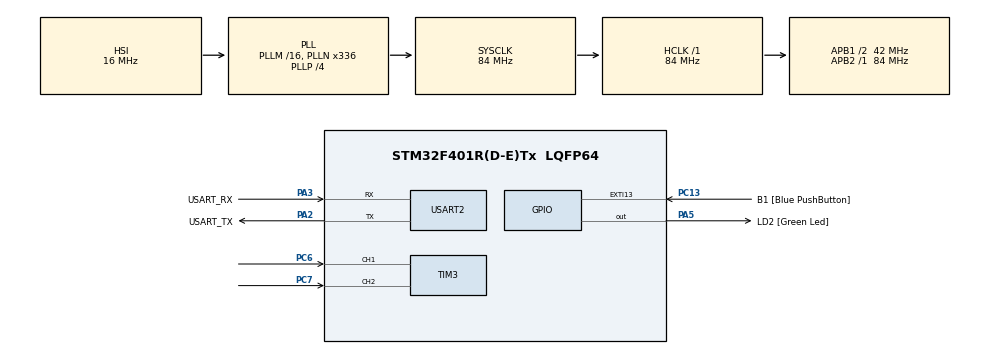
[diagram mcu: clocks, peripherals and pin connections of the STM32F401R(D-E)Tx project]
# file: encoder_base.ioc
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Mcu.Family=STM32F4
Mcu.Name=STM32F401R(D-E)Tx
Mcu.Package=LQFP64
NVIC.PriorityGroup=NVIC_PRIORITYGROUP_0
PA13.GPIO_Label=TMS
PA13.Mode=Serial_Wire
PA13.Signal=SYS_JTMS-SWDIO
PA14.GPIO_Label=TCK
PA14.Mode=Serial_Wire
PA14.Signal=SYS_JTCK-SWCLK
PA2.GPIO_Label=USART_TX
PA2.GPIO_Mode=GPIO_MODE_AF_PP
PA2.GPIO_PuPd=GPIO_NOPULL
PA2.GPIO_Speed=GPIO_SPEED_FREQ_LOW
PA2.Mode=Asynchronous
PA2.Signal=USART2_TX
PA3.GPIO_Label=USART_RX
PA3.GPIO_Mode=GPIO_MODE_AF_PP
PA3.GPIO_PuPd=GPIO_NOPULL
PA3.GPIO_Speed=GPIO_SPEED_FREQ_LOW
PA3.Mode=Asynchronous
PA3.Signal=USART2_RX
PA5.GPIO_Label=LD2 [Green Led]
PA5.GPIO_Mode=GPIO_MODE_OUTPUT_PP
PA5.GPIO_PuPd=GPIO_NOPULL
PA5.GPIO_Speed=GPIO_SPEED_FREQ_LOW
PA5.Signal=GPIO_Output
PB3.GPIO_Label=SWO
PB3.Signal=SYS_JTDO-SWO
PC13-ANTI_TAMP.GPIO_Label=B1 [Blue PushButton]
PC13-ANTI_TAMP.GPIO_ModeDefaultEXTI=GPIO_MODE_IT_FALLING
PC13-ANTI_TAMP.GPIO_PuPd=GPIO_NOPULL
PC13-ANTI_TAMP.Signal=GPXTI13
PC14-OSC32_IN.Mode=LSE-External-Oscillator
PC14-OSC32_IN.Signal=RCC_OSC32_IN
PC15-OSC32_OUT.Mode=LSE-External-Oscillator
PC15-OSC32_OUT.Signal=RCC_OSC32_OUT
PC6.Signal=S_TIM3_CH1
PC7.Signal=S_TIM3_CH2
PH0\ -\ OSC_IN.Mode=HSE-External-Clock-Source
PH0\ -\ OSC_IN.Signal=RCC_OSC_IN
PH1\ -\ OSC_OUT.Mode=HSE-External-Clock-Source
PH1\ -\ OSC_OUT.Signal=RCC_OSC_OUT
ProjectManager.HeapSize=0x200
ProjectManager.StackSize=0x400
ProjectManager.TargetToolchain=STM32CubeIDE
RCC.48MHZClocksFreq_Value=48000000
RCC.AHBFreq_Value=84000000
RCC.APB1CLKDivider=RCC_HCLK_DIV2
RCC.APB1Freq_Value=42000000
RCC.APB1TimFreq_Value=84000000
RCC.APB2Freq_Value=84000000
RCC.APB2TimFreq_Value=84000000
RCC.CortexFreq_Value=84000000
RCC.HCLKFreq_Value=84000000
RCC.HSE_VALUE=8000000
RCC.HSI_VALUE=16000000
RCC.PLLN=336
RCC.PLLP=RCC_PLLP_DIV4
RCC.PLLQ=7
RCC.SYSCLKFreq_VALUE=84000000
RCC.SYSCLKSource=RCC_SYSCLKSOURCE_PLLCLK
RCC.VCOOutputFreq_Value=336000000
SH.S_TIM3_CH1.0=TIM3_CH1,Encoder_Interface
SH.S_TIM3_CH2.0=TIM3_CH2,Encoder_Interface
TIM3.ClockDivision=TIM_CLOCKDIVISION_DIV4
TIM3.IC1Filter=15
TIM3.IC1Polarity=TIM_ICPOLARITY_FALLING
TIM3.IC2Filter=15
USART2.VirtualMode=VM_ASYNC
board=NUCLEO-F401RE

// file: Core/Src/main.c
/* USER CODE BEGIN Header */
/**
  ******************************************************************************
  * @file           : main.c
  * @brief          : Main program body
  ******************************************************************************
  * @attention
  *
  * <h2><center>&copy; Copyright (c) 2021 STMicroelectronics.
  * All rights reserved.</center></h2>
  *
  * This software component is licensed by ST under BSD 3-Clause license,
  * the "License"; You may not use this file except in compliance with the
  * License. You may obtain a copy of the License at:
  *                        opensource.org/licenses/BSD-3-Clause
  *
  ******************************************************************************
  */
/* USER CODE END Header */
#include "main.h"

TIM_HandleTypeDef htim3;

UART_HandleTypeDef huart2;

void SystemClock_Config(void);
static void MX_GPIO_Init(void);
static void MX_USART2_UART_Init(void);
static void MX_TIM3_Init(void);

int main(void)
{

  /* MCU Configuration--------------------------------------------------------*/

  /* Reset of all peripherals, Initializes the Flash interface and the Systick. */
  HAL_Init();

  /* Configure the system clock */
  SystemClock_Config();

  /* Initialize all configured peripherals */
  MX_GPIO_Init();
  MX_USART2_UART_Init();
  MX_TIM3_Init();
  /* USER CODE BEGIN 2 */

  /*
   * Changing from uint16_t to int16_t solved the issue with the timer overflow
   */
  int16_t countA = 0;
  int16_t countB = 0;
  int16_t delta = 0;
  int16_t rpm = 0;
  uint8_t buffer[100];
  uint16_t buflen = 0;

  HAL_TIM_Encoder_Start(&htim3, TIM_CHANNEL_ALL);
  /* USER CODE END 2 */

  /* Infinite loop */
  /* USER CODE BEGIN WHILE */
  while (1)
  {
	  countA = __HAL_TIM_GET_COUNTER(&htim3); 	//alternative: countA = TIM3->CNT;
	  HAL_Delay(1000);
	  countB = __HAL_TIM_GET_COUNTER(&htim3);
	  delta = countB - countA;
	  rpm = (delta / 24.0) * 60; 				//24 is the value obtained with a 360 degree rotation of the encoder

	  if (delta < 0) {
		  rpm = -rpm;
		  buflen = snprintf(buffer, sizeof(buffer), "Delta: %d\r\nSpeed (counter-clockwise): %d rpms\r\n\r\n", delta, rpm);
	  }
	  else{
		  buflen = snprintf(buffer, sizeof(buffer), "Delta: %d\r\nSpeed (clockwise): %d rpms\r\n\r\n", delta, rpm);
	  }

	  HAL_UART_Transmit(&huart2, buffer, buflen, 100);
    /* USER CODE END WHILE */

  }
}

void SystemClock_Config(void)
{
  RCC_OscInitTypeDef RCC_OscInitStruct = {0};
  RCC_ClkInitTypeDef RCC_ClkInitStruct = {0};

  /** Configure the main internal regulator output voltage
  */
  __HAL_RCC_PWR_CLK_ENABLE();
  __HAL_PWR_VOLTAGESCALING_CONFIG(PWR_REGULATOR_VOLTAGE_SCALE2);
  /** Initializes the RCC Oscillators according to the specified parameters
  * in the RCC_OscInitTypeDef structure.
  */
  RCC_OscInitStruct.OscillatorType = RCC_OSCILLATORTYPE_HSI;
  RCC_OscInitStruct.HSIState = RCC_HSI_ON;
  RCC_OscInitStruct.HSICalibrationValue = RCC_HSICALIBRATION_DEFAULT;
  RCC_OscInitStruct.PLL.PLLState = RCC_PLL_ON;
  RCC_OscInitStruct.PLL.PLLSource = RCC_PLLSOURCE_HSI;
  RCC_OscInitStruct.PLL.PLLM = 16;
  RCC_OscInitStruct.PLL.PLLN = 336;
  RCC_OscInitStruct.PLL.PLLP = RCC_PLLP_DIV4;
  RCC_OscInitStruct.PLL.PLLQ = 7;
  if (HAL_RCC_OscConfig(&RCC_OscInitStruct) != HAL_OK)
  {
    Error_Handler();
  }
  /** Initializes the CPU, AHB and APB buses clocks
  */
  RCC_ClkInitStruct.ClockType = RCC_CLOCKTYPE_HCLK|RCC_CLOCKTYPE_SYSCLK
                              |RCC_CLOCKTYPE_PCLK1|RCC_CLOCKTYPE_PCLK2;
  RCC_ClkInitStruct.SYSCLKSource = RCC_SYSCLKSOURCE_PLLCLK;
  RCC_ClkInitStruct.AHBCLKDivider = RCC_SYSCLK_DIV1;
  RCC_ClkInitStruct.APB1CLKDivider = RCC_HCLK_DIV2;
  RCC_ClkInitStruct.APB2CLKDivider = RCC_HCLK_DIV1;

  if (HAL_RCC_ClockConfig(&RCC_ClkInitStruct, FLASH_LATENCY_2) != HAL_OK)
  {
    Error_Handler();
  }
}

static void MX_TIM3_Init(void)
{

  TIM_Encoder_InitTypeDef sConfig = {0};
  TIM_MasterConfigTypeDef sMasterConfig = {0};

  htim3.Instance = TIM3;
  htim3.Init.Prescaler = 0;
  htim3.Init.CounterMode = TIM_COUNTERMODE_UP;
  htim3.Init.Period = 65535;
  htim3.Init.ClockDivision = TIM_CLOCKDIVISION_DIV4;
  htim3.Init.AutoReloadPreload = TIM_AUTORELOAD_PRELOAD_DISABLE;
  sConfig.EncoderMode = TIM_ENCODERMODE_TI1;
  sConfig.IC1Polarity = TIM_ICPOLARITY_FALLING;
  sConfig.IC1Selection = TIM_ICSELECTION_DIRECTTI;
  sConfig.IC1Prescaler = TIM_ICPSC_DIV1;
  sConfig.IC1Filter = 15;
  sConfig.IC2Polarity = TIM_ICPOLARITY_RISING;
  sConfig.IC2Selection = TIM_ICSELECTION_DIRECTTI;
  sConfig.IC2Prescaler = TIM_ICPSC_DIV1;
  sConfig.IC2Filter = 15;
  if (HAL_TIM_Encoder_Init(&htim3, &sConfig) != HAL_OK)
  {
    Error_Handler();
  }
  sMasterConfig.MasterOutputTrigger = TIM_TRGO_RESET;
  sMasterConfig.MasterSlaveMode = TIM_MASTERSLAVEMODE_DISABLE;
  if (HAL_TIMEx_MasterConfigSynchronization(&htim3, &sMasterConfig) != HAL_OK)
  {
    Error_Handler();
  }

}

static void MX_USART2_UART_Init(void)
{

  huart2.Instance = USART2;
  huart2.Init.BaudRate = 115200;
  huart2.Init.WordLength = UART_WORDLENGTH_8B;
  huart2.Init.StopBits = UART_STOPBITS_1;
  huart2.Init.Parity = UART_PARITY_NONE;
  huart2.Init.Mode = UART_MODE_TX_RX;
  huart2.Init.HwFlowCtl = UART_HWCONTROL_NONE;
  huart2.Init.OverSampling = UART_OVERSAMPLING_16;
  if (HAL_UART_Init(&huart2) != HAL_OK)
  {
    Error_Handler();
  }

}

static void MX_GPIO_Init(void)
{
  GPIO_InitTypeDef GPIO_InitStruct = {0};

  /* GPIO Ports Clock Enable */
  __HAL_RCC_GPIOC_CLK_ENABLE();
  __HAL_RCC_GPIOH_CLK_ENABLE();
  __HAL_RCC_GPIOA_CLK_ENABLE();
  __HAL_RCC_GPIOB_CLK_ENABLE();

  /*Configure GPIO pin Output Level */
  HAL_GPIO_WritePin(LD2_GPIO_Port, LD2_Pin, GPIO_PIN_RESET);

  /*Configure GPIO pin : B1_Pin */
  GPIO_InitStruct.Pin = B1_Pin;
  GPIO_InitStruct.Mode = GPIO_MODE_IT_FALLING;
  GPIO_InitStruct.Pull = GPIO_NOPULL;
  HAL_GPIO_Init(B1_GPIO_Port, &GPIO_InitStruct);

  /*Configure GPIO pin : LD2_Pin */
  GPIO_InitStruct.Pin = LD2_Pin;
  GPIO_InitStruct.Mode = GPIO_MODE_OUTPUT_PP;
  GPIO_InitStruct.Pull = GPIO_NOPULL;
  GPIO_InitStruct.Speed = GPIO_SPEED_FREQ_LOW;
  HAL_GPIO_Init(LD2_GPIO_Port, &GPIO_InitStruct);

}

void Error_Handler(void)
{
  __disable_irq();
  while (1)
  {
  }
}

/************************ (C) COPYRIGHT STMicroelectronics *****END OF FILE****/
